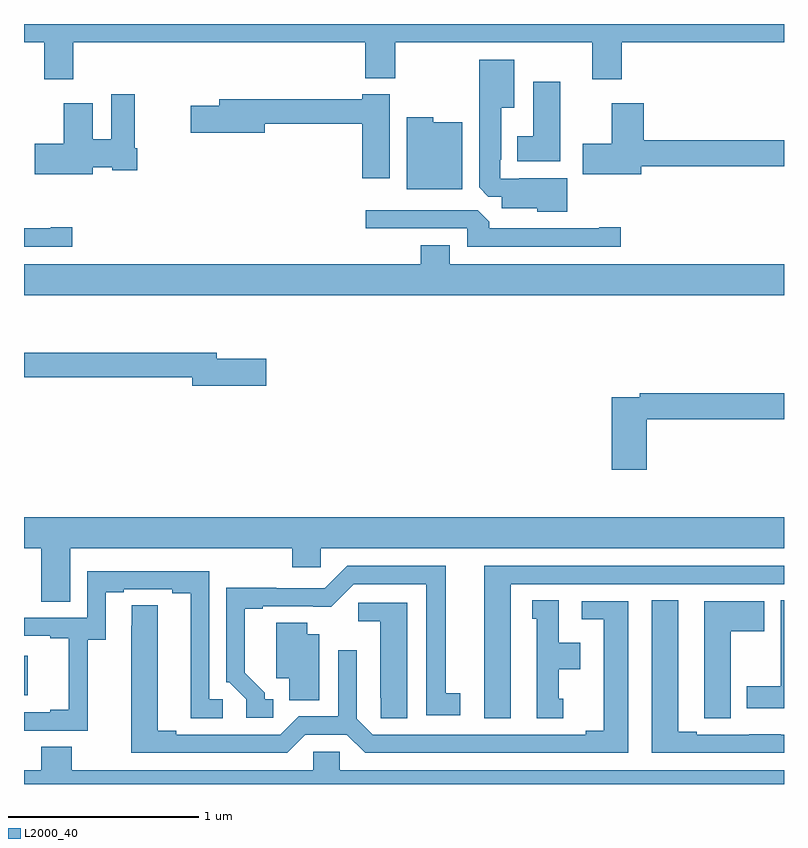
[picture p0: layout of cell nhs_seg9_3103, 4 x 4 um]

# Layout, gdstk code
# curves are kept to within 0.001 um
import gdstk
lib = gdstk.Library(unit=1e-6, precision=1e-09)
def R(c, l, rs):  # rectangles x0, y0, x1, y1
    for r in rs: c.add(gdstk.rectangle(r[:2], r[2:], *l))
def P(c, l, *ps):  # polygons
    for p in ps: c.add(gdstk.Polygon(p, *l))
L2000_40 = (2000, 40)

nhs_seg9_3103 = lib.new_cell('nhs_seg9_3103')
R(nhs_seg9_3103, L2000_40, [(289,1208.966,289.021,1209.175)])
P(nhs_seg9_3103, L2000_40, [(289.259,1212.404),(290.795,1212.404),(290.795,1212.215),(290.955,1212.215),(290.955,1212.404),(291.992,1212.404),(291.992,1212.21),(292.145,1212.21),(292.145,1212.404),(293,1212.404),(293,1212.5),(289,1212.5),(289,1212.404),(289.106,1212.404),(289.106,1212.21),(289.259,1212.21)],
  [(291.859,1211.689),(291.607,1211.689),(291.607,1211.685),(291.507,1211.685),(291.507,1211.785),(291.511,1211.785),(291.511,1212.059),(291.58,1212.059),(291.58,1212.313),(291.395,1212.313),(291.395,1211.641),(291.444,1211.592),(291.515,1211.592),(291.515,1211.531),(291.702,1211.531),(291.702,1211.513),(291.859,1211.513)],
  [(291.823,1212.196),(291.68,1212.196),(291.68,1211.908),(291.596,1211.908),(291.596,1211.777),(291.823,1211.777)],
  [(290.926,1212.13),(290.78,1212.13),(290.78,1212.103),(290.027,1212.103),(290.027,1212.069),(289.878,1212.069),(289.878,1211.927),(290.266,1211.927),(290.266,1211.974),(290.78,1211.974),(290.78,1211.688),(290.926,1211.688)],
  [(289.363,1211.747),(289.464,1211.747),(289.464,1211.729),(289.595,1211.729),(289.595,1211.845),(289.582,1211.845),(289.582,1212.13),(289.46,1212.13),(289.46,1211.894),(289.363,1211.894),(289.363,1212.082),(289.208,1212.082),(289.208,1211.871),(289.056,1211.871),(289.056,1211.708),(289.363,1211.708)],
  [(292.249,1211.752),(293,1211.752),(293,1211.888),(292.262,1211.888),(292.262,1212.082),(292.094,1212.082),(292.094,1211.871),(291.942,1211.871),(291.942,1211.708),(292.249,1211.708)],
  [(291.307,1211.983),(291.153,1211.983),(291.153,1212.01),(291.014,1212.01),(291.014,1211.63),(291.307,1211.63)],
  [(292.141,1211.429),(292.028,1211.429),(292.028,1211.424),(291.449,1211.424),(291.449,1211.458),(291.387,1211.52),(290.799,1211.52),(290.799,1211.424),(291.333,1211.424),(291.333,1211.328),(292.141,1211.328)],
  [(289.255,1211.429),(289.142,1211.429),(289.142,1211.424),(289,1211.424),(289,1211.328),(289.255,1211.328)],
  [(293,1211.236),(291.241,1211.236),(291.241,1211.335),(291.089,1211.335),(291.089,1211.236),(289,1211.236),(289,1211.072),(293,1211.072)],
  [(290.275,1210.737),(290.014,1210.737),(290.014,1210.771),(289,1210.771),(289,1210.642),(289.886,1210.642),(289.886,1210.595),(290.275,1210.595)],
  [(292.277,1210.42),(293,1210.42),(293,1210.556),(292.24,1210.556),(292.24,1210.536),(292.094,1210.536),(292.094,1210.155),(292.277,1210.155)],
  [(289.243,1209.74),(290.411,1209.74),(290.411,1209.642),(290.562,1209.642),(290.562,1209.74),(293,1209.74),(293,1209.904),(289,1209.904),(289,1209.74),(289.091,1209.74),(289.091,1209.46),(289.243,1209.46)],
  [(291.562,1209.552),(293,1209.552),(293,1209.648),(291.422,1209.648),(291.422,1208.847),(291.562,1208.847)],
  [(290.311,1208.946),(290.266,1208.946),(290.266,1208.981),(290.161,1209.086),(290.161,1209.423),(290.257,1209.423),(290.257,1209.435),(290.618,1209.434),(290.736,1209.552),(291.116,1209.552),(291.116,1208.862),(291.295,1208.862),(291.295,1208.978),(291.22,1208.978),(291.22,1209.648),(290.7,1209.648),(290.583,1209.531),(290.327,1209.531),(290.327,1209.533),(290.064,1209.533),(290.064,1209.036),(290.079,1209.036),(290.169,1208.946),(290.169,1208.85),(290.311,1208.85)],
  [(289.335,1209.259),(289.429,1209.259),(289.429,1209.51),(289.525,1209.51),(289.525,1209.525),(289.781,1209.525),(289.781,1209.505),(289.877,1209.505),(289.877,1208.845),(290.047,1208.845),(290.047,1208.946),(289.974,1208.946),(289.974,1209.621),(289.332,1209.621),(289.332,1209.375),(289,1209.375),(289,1209.279),(289.139,1209.279),(289.139,1209.267),(289.235,1209.267),(289.235,1208.89),(289.139,1208.89),(289.139,1208.877),(289,1208.877),(289,1208.781),(289.335,1208.781)],
  [(291.838,1208.949),(291.814,1208.949),(291.814,1209.104),(291.928,1209.104),(291.928,1209.244),(291.814,1209.244),(291.814,1209.467),(291.674,1209.467),(291.674,1209.369),(291.698,1209.369),(291.698,1208.847),(291.838,1208.847)],
  [(293,1208.76),(292.982,1208.76),(292.982,1208.761),(292.816,1208.761),(292.816,1208.76),(292.54,1208.76),(292.54,1208.775),(292.444,1208.775),(292.444,1209.467),(292.304,1209.467),(292.304,1208.664),(293,1208.664)],
  [(293,1209.467),(292.982,1209.467),(292.982,1209.015),(292.805,1209.015),(292.805,1208.898),(293,1208.898)],
  [(292.72,1209.304),(292.897,1209.304),(292.897,1209.463),(292.58,1209.463),(292.58,1208.953),(292.581,1208.953),(292.581,1208.845),(292.72,1208.845)],
  [(290.481,1208.76),(290.699,1208.76),(290.795,1208.664),(292.18,1208.664),(292.18,1209.462),(291.936,1209.462),(291.936,1209.366),(292.052,1209.366),(292.052,1208.78),(291.956,1208.78),(291.956,1208.76),(290.835,1208.76),(290.751,1208.844),(290.751,1209.205),(290.655,1209.205),(290.655,1208.856),(290.445,1208.856),(290.349,1208.76),(289.801,1208.76),(289.801,1208.78),(289.705,1208.78),(289.705,1209.44),(289.566,1209.44),(289.565,1208.664),(290.385,1208.664)],
  [(291.016,1209.453),(290.76,1209.453),(290.76,1209.356),(290.876,1209.356),(290.876,1208.953),(290.877,1208.953),(290.877,1208.845),(291.016,1208.845)],
  [(290.554,1209.289),(290.491,1209.289),(290.491,1209.35),(290.327,1209.35),(290.327,1209.056),(290.396,1209.056),(290.396,1208.941),(290.554,1208.941)],
  [(293,1208.572),(290.661,1208.572),(290.661,1208.67),(290.523,1208.67),(290.523,1208.572),(289.251,1208.572),(289.251,1208.696),(289.091,1208.696),(289.091,1208.572),(289,1208.572),(289,1208.5),(293,1208.5)])

lib.write_gds('nhs_seg9_3103.gds')
